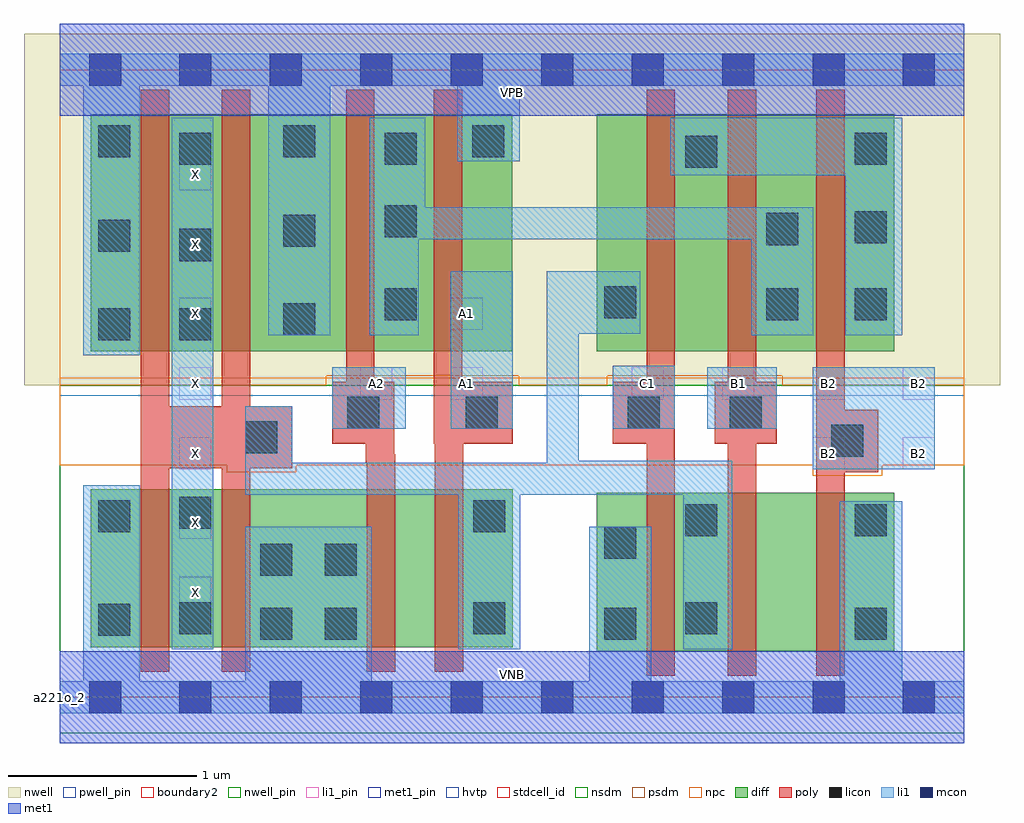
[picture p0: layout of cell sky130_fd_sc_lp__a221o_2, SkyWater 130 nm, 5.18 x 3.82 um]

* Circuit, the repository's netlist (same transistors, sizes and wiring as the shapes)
* Copyright 2020 The SkyWater PDK Authors
*
* Licensed under the Apache License, Version 2.0 (the "License");
* you may not use this file except in compliance with the License.
* You may obtain a copy of the License at
*
*     https://www.apache.org/licenses/LICENSE-2.0
*
* Unless required by applicable law or agreed to in writing, software
* distributed under the License is distributed on an "AS IS" BASIS,
* WITHOUT WARRANTIES OR CONDITIONS OF ANY KIND, either express or implied.
* See the License for the specific language governing permissions and
* limitations under the License.
*
* SPDX-License-Identifier: Apache-2.0

.SUBCKT sky130_fd_sc_lp__a221o_2 A1 A2 B1 B2 C1 VGND VNB VPB VPWR X
*.PININFO A1:I A2:I B1:I B2:I C1:I VGND:I VNB:I VPB:I VPWR:I X:O
MMPA0 pndA A1 VPWR VPB sky130_fd_pr__pfet_01v8_hvt m=1 w=1.26U l=0.15U mult=1 sa=0.265
+ sb=0.265 sd=0.28 area=0.063 perim=1.14
MMPA1 pndA A2 VPWR VPB sky130_fd_pr__pfet_01v8_hvt m=1 w=1.26U l=0.15U mult=1 sa=0.265
+ sb=0.265 sd=0.28 area=0.063 perim=1.14
MMPB0 pndB B1 pndA VPB sky130_fd_pr__pfet_01v8_hvt m=1 w=1.26U l=0.15U mult=1 sa=0.265
+ sb=0.265 sd=0.28 area=0.063 perim=1.14
MMPB1 pndB B2 pndA VPB sky130_fd_pr__pfet_01v8_hvt m=1 w=1.26U l=0.15U mult=1 sa=0.265
+ sb=0.265 sd=0.28 area=0.063 perim=1.14
MMPC0 y C1 pndB VPB sky130_fd_pr__pfet_01v8_hvt m=1 w=1.26U l=0.15U mult=1 sa=0.265
+ sb=0.265 sd=0.28 area=0.063 perim=1.14
MMIPX X y VPWR VPB sky130_fd_pr__pfet_01v8_hvt m=2 w=1.26U l=0.15U mult=1 sa=0.265
+ sb=0.265 sd=0.28 area=0.063 perim=1.14
MMNA0 y A1 sndA1 VNB sky130_fd_pr__nfet_01v8 m=1 w=0.84U l=0.15U mult=1 sa=0.265
+ sb=0.265 sd=0.28 area=0.063 perim=1.14
MMNA1 sndA1 A2 VGND VNB sky130_fd_pr__nfet_01v8 m=1 w=0.84U l=0.15U mult=1 sa=0.265
+ sb=0.265 sd=0.28 area=0.063 perim=1.14
MMNB0 y B1 sndB1 VNB sky130_fd_pr__nfet_01v8 m=1 w=0.84U l=0.15U mult=1 sa=0.265
+ sb=0.265 sd=0.28 area=0.063 perim=1.14
MMNB1 sndB1 B2 VGND VNB sky130_fd_pr__nfet_01v8 m=1 w=0.84U l=0.15U mult=1 sa=0.265
+ sb=0.265 sd=0.28 area=0.063 perim=1.14
MMNC0 y C1 VGND VNB sky130_fd_pr__nfet_01v8 m=1 w=0.84U l=0.15U mult=1 sa=0.265
+ sb=0.265 sd=0.28 area=0.063 perim=1.14
MMINX X y VGND VNB sky130_fd_pr__nfet_01v8 m=2 w=0.84U l=0.15U mult=1 sa=0.265
+ sb=0.265 sd=0.28 area=0.063 perim=1.14
.ENDS sky130_fd_sc_lp__a221o_2

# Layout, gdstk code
import gdstk
lib = gdstk.Library(unit=1e-6, precision=1e-09)
def R(c, l, rs):  # rectangles x0, y0, x1, y1
    for r in rs: c.add(gdstk.rectangle(r[:2], r[2:], *l))
def A(c, l, x, y, w, h, nx, ny, dx, dy):  # array of equal rectangles
    R(c, l, [(x+i*dx, y+j*dy, x+i*dx+w, y+j*dy+h) for i in range(nx) for j in range(ny)])
def P(c, l, *ps):  # polygons
    for p in ps: c.add(gdstk.Polygon(p, *l))
nwell_pin = (64, 16)
nwell = (64, 20)
diff = (65, 20)
poly = (66, 20)
licon = (66, 44)
li1_pin = (67, 16)
li1 = (67, 20)
mcon = (67, 44)
met1_pin = (68, 16)
met1 = (68, 20)
hvtp = (78, 44)
stdcell_id = (81, 4)
nsdm = (93, 44)
psdm = (94, 20)
npc = (95, 20)
pwell_pin = (122, 16)
boundary2 = (236, 0)

sky130_fd_sc_lp__a221o_2 = lib.new_cell('sky130_fd_sc_lp__a221o_2')
R(sky130_fd_sc_lp__a221o_2, nwell_pin, [(0,3.085,4.8,3.33)])
R(sky130_fd_sc_lp__a221o_2, nwell, [(-0.19,1.655,4.99,3.52)])
R(sky130_fd_sc_lp__a221o_2, diff, [(2.85,0.245,4.43,1.085), (0.165,0.265,2.405,1.105), (0.165,1.835,2.4,3.095), (2.85,1.835,4.43,3.095)])
P(sky130_fd_sc_lp__a221o_2, poly, [(1.235,1.545),(1.01,1.545),(1.01,3.225),(0.86,3.225),(0.86,1.545),(0.58,1.545),(0.58,3.225),(0.43,3.225),(0.43,0.135),(0.58,0.135),(0.58,1.215),(0.86,1.215),(0.86,0.135),(1.01,0.135),(1.01,1.215),(1.235,1.215)],
  [(1.78,1.29),(1.775,1.29),(1.775,1.675),(1.67,1.675),(1.67,3.225),(1.52,3.225),(1.52,1.675),(1.445,1.675),(1.445,1.345),(1.625,1.345),(1.625,1.245),(1.63,1.245),(1.63,0.135),(1.78,0.135)],
  [(2.405,1.675),(2.135,1.675),(2.135,3.225),(1.985,3.225),(1.985,1.345),(1.99,1.345),(1.99,0.135),(2.14,0.135),(2.14,1.345),(2.405,1.345)],
  [(3.265,3.225),(3.115,3.225),(3.115,1.675),(2.935,1.675),(2.935,1.345),(3.115,1.345),(3.115,0.115),(3.265,0.115)],
  [(3.805,1.675),(3.695,1.675),(3.695,3.225),(3.545,3.225),(3.545,1.675),(3.475,1.675),(3.475,1.345),(3.545,1.345),(3.545,0.115),(3.695,0.115),(3.695,1.345),(3.805,1.345)],
  [(4.345,1.525),(4.165,1.525),(4.165,3.225),(4.015,3.225),(4.015,0.115),(4.165,0.115),(4.165,1.195),(4.345,1.195)])
R(sky130_fd_sc_lp__a221o_2, licon, [(1.065,0.305,1.235,0.475), (1.405,0.305,1.575,0.475), (2.89,0.305,3.06,0.475), (4.22,0.305,4.39,0.475), (0.205,0.325,0.375,0.495), (0.635,0.335,0.805,0.505), (2.195,0.335,2.365,0.505), (3.32,0.335,3.49,0.505), (1.065,0.645,1.235,0.815), (1.405,0.645,1.575,0.815), (2.89,0.735,3.06,0.905), (3.32,0.855,3.49,1.025), (4.22,0.855,4.39,1.025), (0.205,0.875,0.375,1.045), (2.195,0.875,2.365,1.045), (0.635,0.895,0.805,1.065), (4.095,1.275,4.265,1.445), (0.985,1.295,1.155,1.465), (1.525,1.425,1.695,1.595), (2.155,1.425,2.325,1.595), (3.015,1.425,3.185,1.595), (3.555,1.425,3.725,1.595), (0.205,1.895,0.375,2.065), (0.635,1.895,0.805,2.065), (1.185,1.92,1.355,2.09), (1.725,2,1.895,2.17), (3.75,2,3.92,2.17), (4.22,2,4.39,2.17), (2.89,2.01,3.06,2.18), (0.635,2.315,0.805,2.485), (0.205,2.365,0.375,2.535), (1.185,2.39,1.355,2.56), (3.75,2.4,3.92,2.57), (4.22,2.41,4.39,2.58), (1.725,2.44,1.895,2.61), (3.32,2.81,3.49,2.98), (0.635,2.825,0.805,2.995), (1.725,2.825,1.895,2.995), (4.22,2.825,4.39,2.995), (0.205,2.865,0.375,3.035), (1.185,2.865,1.355,3.035), (2.19,2.865,2.36,3.035)])
A(sky130_fd_sc_lp__a221o_2, li1_pin, 0.635, 0.47, 0.17, 0.17, 1, 7, 0, 0.37)
A(sky130_fd_sc_lp__a221o_2, li1_pin, 3.035, 1.58, 0.17, 0.17, 4, 1, 0.48, 0)
R(sky130_fd_sc_lp__a221o_2, li1_pin, [(3.995,1.21,4.165,1.38), (4.475,1.21,4.645,1.38), (1.595,1.58,1.765,1.75), (2.075,1.58,2.245,1.75), (2.075,1.95,2.245,2.12)])
R(sky130_fd_sc_lp__a221o_2, li1, [(0.595,0.255,0.815,3.075), (3.995,1.21,4.645,1.75), (1.445,1.425,1.835,1.75), (2.075,1.425,2.405,2.26), (2.935,1.425,3.265,1.76), (3.435,1.425,3.805,1.75)])
P(sky130_fd_sc_lp__a221o_2, li1, [(2.11,2.845),(2.11,3.245),(1.435,3.245),(1.435,1.92),(1.105,1.92),(1.105,3.245),(0.425,3.245),(0.425,1.815),(0.125,1.815),(0.125,3.245),(0,3.245),(0,3.415),(4.8,3.415),(4.8,3.245),(2.44,3.245),(2.44,2.845)],
  [(4.14,0.085),(4.14,1.04),(4.47,1.04),(4.47,0.085),(4.8,0.085),(4.8,-0.085),(0,-0.085),(0,0.085),(0.125,0.085),(0.125,1.125),(0.425,1.125),(0.425,0.085),(0.985,0.085),(0.985,0.905),(1.655,0.905),(1.655,0.085),(2.81,0.085),(2.81,0.905),(3.14,0.905),(3.14,0.085)],
  [(3.31,0.255),(3.31,1.075),(2.445,1.075),(2.445,0.255),(2.115,0.255),(2.115,1.075),(0.985,1.075),(0.985,1.545),(1.235,1.545),(1.235,1.245),(2.585,1.245),(2.585,2.26),(3.08,2.26),(3.08,1.93),(2.755,1.93),(2.755,1.255),(3.57,1.255),(3.57,0.255)],
  [(3.24,2.77),(3.24,3.075),(4.47,3.075),(4.47,1.92),(4.17,1.92),(4.17,2.77)],
  [(1.94,2.6),(4,2.6),(4,1.92),(3.67,1.92),(3.67,2.43),(1.905,2.43),(1.905,1.92),(1.645,1.92),(1.645,3.075),(1.94,3.075)])
A(sky130_fd_sc_lp__a221o_2, mcon, 0.155, -0.085, 0.17, 0.17, 10, 2, 0.48, 3.33)
R(sky130_fd_sc_lp__a221o_2, met1_pin, [(0,0,4.8,0.245), (0,3.085,4.8,3.33)])
R(sky130_fd_sc_lp__a221o_2, met1, [(0,-0.245,4.8,0.245), (0,3.085,4.8,3.575)])
R(sky130_fd_sc_lp__a221o_2, hvtp, [(0,1.6,4.8,3.33)])
R(sky130_fd_sc_lp__a221o_2, stdcell_id, [(0,0,4.8,3.33)])
R(sky130_fd_sc_lp__a221o_2, nsdm, [(0,-0.19,4.8,1.655)])
P(sky130_fd_sc_lp__a221o_2, psdm, [(4.8,3.52),(0,3.52),(0,1.655),(1.415,1.655),(1.415,1.705),(2.435,1.705),(2.435,1.655),(2.905,1.655),(2.905,1.705),(3.835,1.705),(3.835,1.655),(4.8,1.655)])
P(sky130_fd_sc_lp__a221o_2, npc, [(4.8,1.695),(0,1.695),(0,1.23),(0.885,1.23),(0.885,1.195),(1.255,1.195),(1.255,1.23),(3.995,1.23),(3.995,1.175),(4.365,1.175),(4.365,1.23),(4.8,1.23)])
R(sky130_fd_sc_lp__a221o_2, pwell_pin, [(0,0,4.8,0.245)])
R(sky130_fd_sc_lp__a221o_2, boundary2, [(0,0,4.8,3.33)])
sky130_fd_sc_lp__a221o_2.add(gdstk.Label('VNB', (2.4,0.123), layer=64, texttype=59))
sky130_fd_sc_lp__a221o_2.add(gdstk.Label('VPB', (2.4,3.208), layer=64, texttype=5))
sky130_fd_sc_lp__a221o_2.add(gdstk.Label('a221o_2', (0,0), layer=83, texttype=44))
sky130_fd_sc_lp__a221o_2.add(gdstk.Label('VPWR', (2.4,3.208), layer=68, texttype=5))
sky130_fd_sc_lp__a221o_2.add(gdstk.Label('VGND', (2.4,0.123), layer=68, texttype=5))
sky130_fd_sc_lp__a221o_2.add(gdstk.Label('X', (0.72,0.555), layer=67, texttype=5))
sky130_fd_sc_lp__a221o_2.add(gdstk.Label('X', (0.72,0.925), layer=67, texttype=5))
sky130_fd_sc_lp__a221o_2.add(gdstk.Label('X', (0.72,1.295), layer=67, texttype=5))
sky130_fd_sc_lp__a221o_2.add(gdstk.Label('X', (0.72,1.665), layer=67, texttype=5))
sky130_fd_sc_lp__a221o_2.add(gdstk.Label('X', (0.72,2.035), layer=67, texttype=5))
sky130_fd_sc_lp__a221o_2.add(gdstk.Label('X', (0.72,2.405), layer=67, texttype=5))
sky130_fd_sc_lp__a221o_2.add(gdstk.Label('X', (0.72,2.775), layer=67, texttype=5))
sky130_fd_sc_lp__a221o_2.add(gdstk.Label('A2', (1.68,1.665), layer=67, texttype=5))
sky130_fd_sc_lp__a221o_2.add(gdstk.Label('B1', (3.6,1.665), layer=67, texttype=5))
sky130_fd_sc_lp__a221o_2.add(gdstk.Label('A1', (2.16,1.665), layer=67, texttype=5))
sky130_fd_sc_lp__a221o_2.add(gdstk.Label('A1', (2.16,2.035), layer=67, texttype=5))
sky130_fd_sc_lp__a221o_2.add(gdstk.Label('B2', (4.08,1.295), layer=67, texttype=5))
sky130_fd_sc_lp__a221o_2.add(gdstk.Label('B2', (4.08,1.665), layer=67, texttype=5))
sky130_fd_sc_lp__a221o_2.add(gdstk.Label('B2', (4.56,1.295), layer=67, texttype=5))
sky130_fd_sc_lp__a221o_2.add(gdstk.Label('B2', (4.56,1.665), layer=67, texttype=5))
sky130_fd_sc_lp__a221o_2.add(gdstk.Label('C1', (3.12,1.665), layer=67, texttype=5))

lib.write_gds('sky130_fd_sc_lp__a221o_2.gds')
